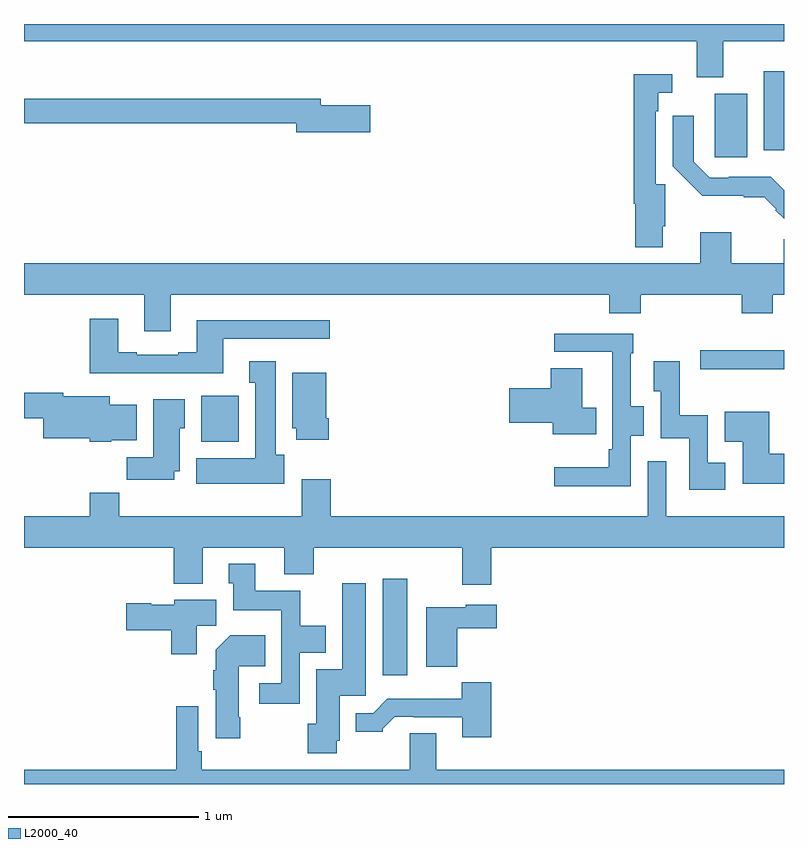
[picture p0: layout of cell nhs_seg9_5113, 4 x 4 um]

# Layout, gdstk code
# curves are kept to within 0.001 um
import gdstk
lib = gdstk.Library(unit=1e-6, precision=1e-09)
def R(c, l, rs):  # rectangles x0, y0, x1, y1
    for r in rs: c.add(gdstk.rectangle(r[:2], r[2:], *l))
def P(c, l, *ps):  # polygons
    for p in ps: c.add(gdstk.Polygon(p, *l))
L2000_40 = (2000, 40)

nhs_seg9_5113 = lib.new_cell('nhs_seg9_5113')
R(nhs_seg9_5113, L2000_40, [(408.887,1205.073,409.018,1205.581), (407.933,1206.302,408.13,1206.544), (410.636,1207.8,410.806,1208.134), (410.894,1207.836,411,1208.251)])
P(nhs_seg9_5113, L2000_40, [(410.68,1208.408),(411,1208.408),(411,1208.5),(407,1208.5),(407,1208.408),(410.54,1208.408),(410.54,1208.219),(410.68,1208.219)],
  [(410.362,1207.435),(410.375,1207.435),(410.375,1207.656),(410.325,1207.656),(410.325,1208.042),(410.337,1208.042),(410.337,1208.139),(410.413,1208.139),(410.413,1208.236),(410.209,1208.236),(410.209,1207.553),(410.216,1207.553),(410.216,1207.325),(410.362,1207.325)],
  [(408.823,1208.073),(408.562,1208.073),(408.562,1208.107),(407,1208.107),(407,1207.978),(408.434,1207.978),(408.434,1207.931),(408.823,1207.931)],
  [(411,1207.626),(410.929,1207.697),(410.71,1207.697),(410.71,1207.692),(410.61,1207.692),(410.526,1207.776),(410.526,1208.017),(410.414,1208.017),(410.414,1207.752),(410.569,1207.595),(410.789,1207.595),(410.789,1207.587),(410.897,1207.587),(410.959,1207.525),(410.955,1207.521),(411,1207.476)],
  [(407.773,1207.076),(410.081,1207.076),(410.081,1206.977),(410.246,1206.977),(410.246,1207.076),(410.777,1207.076),(410.777,1206.977),(410.942,1206.977),(410.942,1207.076),(411,1207.076),(411,1207.366),(410.999,1207.366),(410.999,1207.24),(410.722,1207.24),(410.722,1207.405),(410.558,1207.405),(410.558,1207.24),(407,1207.24),(407,1207.076),(407.633,1207.076),(407.633,1206.882),(407.773,1206.882)],
  [(408.049,1206.843),(408.61,1206.843),(408.61,1206.94),(407.909,1206.94),(407.909,1206.772),(407.813,1206.772),(407.813,1206.759),(407.593,1206.759),(407.593,1206.772),(407.497,1206.772),(407.497,1206.949),(407.345,1206.949),(407.345,1206.662),(408.049,1206.662)],
  [(410.193,1206.334),(410.263,1206.334),(410.263,1206.489),(410.193,1206.489),(410.193,1206.767),(410.206,1206.767),(410.206,1206.87),(409.791,1206.87),(409.791,1206.774),(410.096,1206.774),(410.096,1206.577),(410.097,1206.577),(410.097,1206.262),(410.077,1206.262),(410.077,1206.166),(409.791,1206.166),(409.791,1206.068),(410.193,1206.068)],
  [(410.915,1206.684),(411,1206.684),(411,1206.782),(410.559,1206.782),(410.559,1206.682),(410.915,1206.682)],
  [(410.692,1206.19),(410.598,1206.19),(410.598,1206.442),(410.451,1206.442),(410.451,1206.724),(410.315,1206.724),(410.315,1206.568),(410.352,1206.568),(410.352,1206.32),(410.502,1206.32),(410.502,1206.05),(410.692,1206.05)],
  [(408.37,1206.234),(408.325,1206.234),(408.325,1206.724),(408.185,1206.724),(408.185,1206.611),(408.218,1206.611),(408.218,1206.214),(407.906,1206.214),(407.906,1206.08),(408.37,1206.08)],
  [(410.012,1206.481),(409.939,1206.481),(409.939,1206.689),(409.772,1206.689),(409.772,1206.584),(409.554,1206.584),(409.554,1206.401),(409.784,1206.401),(409.784,1206.341),(410.012,1206.341)],
  [(408.605,1206.424),(408.592,1206.424),(408.592,1206.664),(408.413,1206.664),(408.413,1206.372),(408.434,1206.372),(408.434,1206.312),(408.605,1206.312)],
  [(407.46,1206.308),(407.593,1206.308),(407.593,1206.496),(407.452,1206.496),(407.452,1206.541),(407.206,1206.541),(407.206,1206.56),(407,1206.56),(407,1206.424),(407.102,1206.424),(407.102,1206.32),(407.346,1206.32),(407.346,1206.302),(407.46,1206.302)],
  [(407.791,1206.146),(407.821,1206.146),(407.821,1206.372),(407.845,1206.372),(407.845,1206.526),(407.681,1206.526),(407.681,1206.22),(407.542,1206.22),(407.542,1206.102),(407.791,1206.102)],
  [(411,1206.238),(410.923,1206.238),(410.923,1206.46),(410.687,1206.46),(410.687,1206.302),(410.783,1206.302),(410.783,1206.08),(411,1206.08)],
  [(409.46,1205.744),(411,1205.744),(411,1205.908),(410.379,1205.908),(410.379,1206.199),(410.283,1206.199),(410.283,1205.908),(408.614,1205.908),(408.614,1206.103),(408.461,1206.103),(408.461,1205.908),(407.501,1205.908),(407.501,1206.032),(407.345,1206.032),(407.345,1205.908),(407,1205.908),(407,1205.744),(407.789,1205.744),(407.789,1205.555),(407.941,1205.555),(407.941,1205.744),(408.371,1205.744),(408.371,1205.603),(408.524,1205.603),(408.524,1205.744),(409.307,1205.744),(409.307,1205.55),(409.46,1205.55)],
  [(408.45,1205.192),(408.589,1205.192),(408.589,1205.332),(408.453,1205.332),(408.453,1205.518),(408.217,1205.518),(408.217,1205.659),(408.077,1205.659),(408.077,1205.556),(408.101,1205.556),(408.101,1205.414),(408.354,1205.414),(408.354,1205.031),(408.237,1205.031),(408.237,1204.923),(408.45,1204.923)],
  [(408.645,1204.728),(408.661,1204.728),(408.661,1204.965),(408.799,1204.965),(408.799,1205.557),(408.674,1205.557),(408.674,1205.104),(408.539,1205.104),(408.539,1204.818),(408.493,1204.818),(408.493,1204.662),(408.645,1204.662)],
  [(407.908,1205.332),(408.013,1205.332),(408.013,1205.47),(407.79,1205.47),(407.79,1205.443),(407.67,1205.443),(407.67,1205.451),(407.538,1205.451),(407.538,1205.309),(407.774,1205.309),(407.774,1205.184),(407.908,1205.184)],
  [(409.28,1205.321),(409.489,1205.321),(409.489,1205.443),(409.326,1205.443),(409.326,1205.431),(409.118,1205.431),(409.118,1205.117),(409.28,1205.117)],
  [(408.138,1204.852),(408.13,1204.852),(408.13,1205.12),(408.269,1205.12),(408.269,1205.284),(408.086,1205.284),(408.008,1205.206),(408.008,1205.099),(407.996,1205.099),(407.996,1204.996),(408.008,1204.996),(408.008,1204.74),(408.138,1204.74)],
  [(409.46,1205.035),(409.305,1205.035),(409.305,1204.948),(408.913,1204.948),(408.837,1204.872),(408.746,1204.872),(408.746,1204.775),(408.888,1204.775),(408.888,1204.79),(408.952,1204.854),(409.051,1204.854),(409.051,1204.851),(409.307,1204.851),(409.307,1204.746),(409.46,1204.746)],
  [(411,1204.576),(409.171,1204.576),(409.171,1204.766),(409.031,1204.766),(409.031,1204.576),(407.936,1204.576),(407.936,1204.672),(407.916,1204.672),(407.916,1204.909),(407.8,1204.909),(407.8,1204.576),(407,1204.576),(407,1204.5),(411,1204.5)])

lib.write_gds('nhs_seg9_5113.gds')
